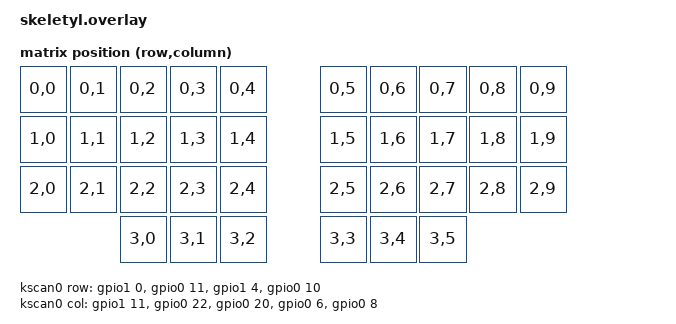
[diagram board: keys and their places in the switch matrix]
#include <dt-bindings/zmk/matrix_transform.h>

/ {
    chosen {
        zmk,kscan = &kscan0;
        zmk,matrix_transform = &default_transform;
        zmk,physical-layout = &physical_layout0;
    };

    kscan0: kscan_0 {
        compatible = "zmk,kscan-gpio-matrix";
        diode-direction = "col2row";
        wakeup-source;

        col-gpios = 
                    
                    <&gpio1 11 GPIO_ACTIVE_HIGH>,
                    <&gpio0 22 GPIO_ACTIVE_HIGH>,
                    <&gpio0 20 GPIO_ACTIVE_HIGH>,
                    <&gpio0 6 GPIO_ACTIVE_HIGH>,
                    <&gpio0 8 GPIO_ACTIVE_HIGH>;

        row-gpios = 
                    <&gpio1 0 (GPIO_ACTIVE_HIGH | GPIO_PULL_DOWN)>,
                    <&gpio0 11 (GPIO_ACTIVE_HIGH | GPIO_PULL_DOWN)>,
                    <&gpio1 4 (GPIO_ACTIVE_HIGH | GPIO_PULL_DOWN)>,
                    <&gpio0 10 (GPIO_ACTIVE_HIGH | GPIO_PULL_DOWN)>;
    };

    default_transform: matrix_transform {
        compatible = "zmk,matrix-transform";
        rows = <4>;  // 4 rows total
        columns = <10>;  // 10 columns (5 left + 5 right)

        // This is the combined mapping used for the full keyboard
        // Each physical key is mapped to a position in this transform
        map = <
            // Full keyboard layout (10 columns × 4 rows)
            RC(0,0) RC(0,1) RC(0,2) RC(0,3) RC(0,4) RC(0,5) RC(0,6) RC(0,7) RC(0,8) RC(0,9)    // Top row
            RC(1,0) RC(1,1) RC(1,2) RC(1,3) RC(1,4) RC(1,5) RC(1,6) RC(1,7) RC(1,8) RC(1,9)    // Middle row
            RC(2,0) RC(2,1) RC(2,2) RC(2,3) RC(2,4) RC(2,5) RC(2,6) RC(2,7) RC(2,8) RC(2,9)    // Bottom row
                           RC(3,0) RC(3,1) RC(3,2) RC(3,3) RC(3,4) RC(3,5)                     // Thumb keys
        >;
    }; 

    physical_layout0: physical_layout_0 { 
        compatible = "zmk,physical-layout";
        display-name = "Default Layout";
        kscan = <&kscan0>; 
        transform = <&default_transform>;
    };  
};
